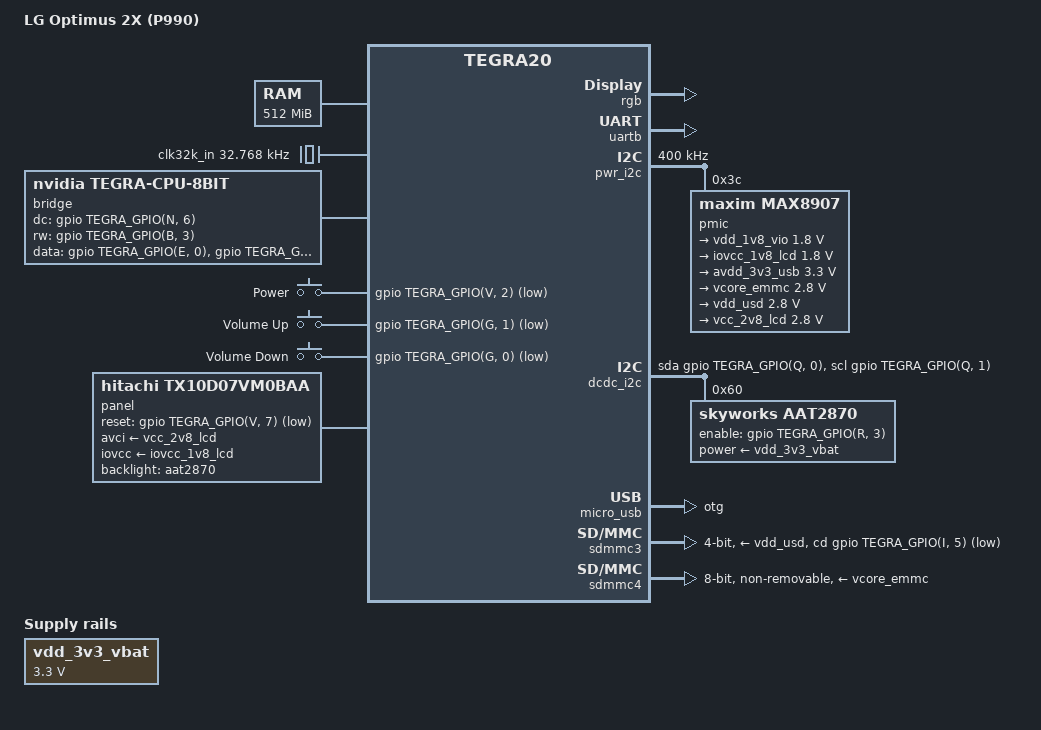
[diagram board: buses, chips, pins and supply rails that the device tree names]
// SPDX-License-Identifier: GPL-2.0
/dts-v1/;

#include <dt-bindings/input/input.h>

#include "tegra20.dtsi"

/ {
	model = "LG Optimus 2X (P990)";
	compatible = "lg,star", "nvidia,tegra20";

	chosen {
		stdout-path = &uartb;
	};

	aliases {
		i2c0 = &pwr_i2c;
		i2c5 = &dcdc_i2c;

		mmc0 = &sdmmc4;	/* eMMC */
		mmc1 = &sdmmc3; /* uSD slot */

		rtc0 = &pmic;
		rtc1 = "/rtc@7000e000";

		usb0 = &micro_usb;
	};

	memory {
		device_type = "memory";
		reg = <0x00000000 0x20000000>; /* 512 MB */
	};

	host1x@50000000 {
		dc@54200000 {
			rgb {
				status = "okay";

				nvidia,panel = <&bridge>;
			};
		};
	};

	uartb: serial@70006040 {
		clocks = <&tegra_car 7>;
		status = "okay";
	};

	pwr_i2c: i2c@7000d000 {
		status = "okay";
		clock-frequency = <400000>;

		pmic: max8907@3c {
			compatible = "maxim,max8907";
			reg = <0x3c>;

			interrupts = <GIC_SPI 86 IRQ_TYPE_LEVEL_HIGH>;
			#interrupt-cells = <2>;
			interrupt-controller;

			#gpio-cells = <2>;
			gpio-controller;

			maxim,system-power-controller;

			regulators {
				vdd_1v8_vio: sd3 {
					regulator-name = "vcc_1v8_io";
					regulator-min-microvolt = <1800000>;
					regulator-max-microvolt = <1800000>;
					regulator-always-on;
					regulator-boot-on;
				};

				iovcc_1v8_lcd: ldo3 {
					regulator-name = "vcc_1v8_lcd";
					regulator-min-microvolt = <1800000>;
					regulator-max-microvolt = <1800000>;
					regulator-boot-on;
				};

				avdd_3v3_usb: ldo4 {
					regulator-name = "avdd_3v3_usb";
					regulator-min-microvolt = <3300000>;
					regulator-max-microvolt = <3300000>;
					regulator-always-on;
					regulator-boot-on;
				};

				vcore_emmc: ldo5 {
					regulator-name = "vcc_2v8_emmc";
					regulator-min-microvolt = <2800000>;
					regulator-max-microvolt = <2800000>;
					regulator-boot-on;
				};

				vdd_usd: ldo12 {
					regulator-name = "vcc_2v8_sdio";
					regulator-min-microvolt = <2800000>;
					regulator-max-microvolt = <2800000>;
					regulator-boot-on;
				};

				vcc_2v8_lcd: ldo14 {
					regulator-name = "vcc_2v8_lcd";
					regulator-min-microvolt = <2800000>;
					regulator-max-microvolt = <2800000>;
					regulator-boot-on;
				};
			};
		};
	};

	dcdc_i2c: i2c-5 {
		compatible = "i2c-gpio";

		sda-gpios = <&gpio TEGRA_GPIO(Q, 0) GPIO_ACTIVE_HIGH>;
		scl-gpios = <&gpio TEGRA_GPIO(Q, 1) GPIO_ACTIVE_HIGH>;

		i2c-gpio,delay-us = <5>;
		i2c-gpio,timeout-ms = <100>;

		#address-cells = <1>;
		#size-cells = <0>;

		aat2870: led-controller@60 {
			compatible = "skyworks,aat2870";
			reg = <0x60>;

			enable-gpios = <&gpio TEGRA_GPIO(R, 3) GPIO_ACTIVE_HIGH>;
			power-supply = <&vdd_3v3_vbat>;
		};
	};

	micro_usb: usb@c5000000 {
		status = "okay";
		dr_mode = "otg";
	};

	usb-phy@c5000000 {
		status = "okay";
		vbus-supply = <&avdd_3v3_usb>;
	};

	sdmmc3: sdhci@c8000400 {
		status = "okay";
		bus-width = <4>;

		cd-gpios = <&gpio TEGRA_GPIO(I, 5) GPIO_ACTIVE_LOW>;

		vmmc-supply = <&vdd_usd>;
		vqmmc-supply = <&vdd_1v8_vio>;
	};

	sdmmc4: sdhci@c8000600 {
		status = "okay";
		bus-width = <8>;
		non-removable;

		vmmc-supply = <&vcore_emmc>;
		vqmmc-supply = <&vdd_1v8_vio>;
	};

	/* 32KHz oscillator which is used by PMC */
	clk32k_in: clock-32k-in {
		compatible = "fixed-clock";
		#clock-cells = <0>;
		clock-frequency = <32768>;
		clock-output-names = "ref-oscillator";
	};

	bridge: cpu-8bit {
		compatible = "nvidia,tegra-cpu-8bit";

		dc-gpios = <&gpio TEGRA_GPIO(N, 6) GPIO_ACTIVE_HIGH>;
		rw-gpios = <&gpio TEGRA_GPIO(B, 3) GPIO_ACTIVE_HIGH>;
		cs-gpios = <&gpio TEGRA_GPIO(N, 4) GPIO_ACTIVE_HIGH>;

		data-gpios = <&gpio TEGRA_GPIO(E, 0) GPIO_ACTIVE_HIGH>,
			     <&gpio TEGRA_GPIO(E, 1) GPIO_ACTIVE_HIGH>,
			     <&gpio TEGRA_GPIO(E, 2) GPIO_ACTIVE_HIGH>,
			     <&gpio TEGRA_GPIO(E, 3) GPIO_ACTIVE_HIGH>,
			     <&gpio TEGRA_GPIO(E, 4) GPIO_ACTIVE_HIGH>,
			     <&gpio TEGRA_GPIO(E, 5) GPIO_ACTIVE_HIGH>,
			     <&gpio TEGRA_GPIO(E, 6) GPIO_ACTIVE_HIGH>,
			     <&gpio TEGRA_GPIO(E, 7) GPIO_ACTIVE_HIGH>;

		panel = <&panel>;
	};

	gpio-keys {
		compatible = "gpio-keys";

		key-power {
			label = "Power";
			gpios = <&gpio TEGRA_GPIO(V, 2) GPIO_ACTIVE_LOW>;
			linux,code = <KEY_ENTER>;
		};

		key-volume-up {
			label = "Volume Up";
			gpios = <&gpio TEGRA_GPIO(G, 1) GPIO_ACTIVE_LOW>;
			linux,code = <KEY_UP>;
		};

		key-volume-down {
			label = "Volume Down";
			gpios = <&gpio TEGRA_GPIO(G, 0) GPIO_ACTIVE_LOW>;
			linux,code = <KEY_DOWN>;
		};
	};

	panel: panel {
		compatible = "hitachi,tx10d07vm0baa";

		reset-gpios = <&gpio TEGRA_GPIO(V, 7) GPIO_ACTIVE_LOW>;

		avci-supply = <&vcc_2v8_lcd>;
		iovcc-supply = <&iovcc_1v8_lcd>;

		backlight = <&aat2870>;
	};

	vdd_3v3_vbat: regulator-vbat {
		compatible = "regulator-fixed";
		regulator-name = "vdd_vbat";
		regulator-min-microvolt = <3300000>;
		regulator-max-microvolt = <3300000>;
		regulator-always-on;
		regulator-boot-on;
	};
};
